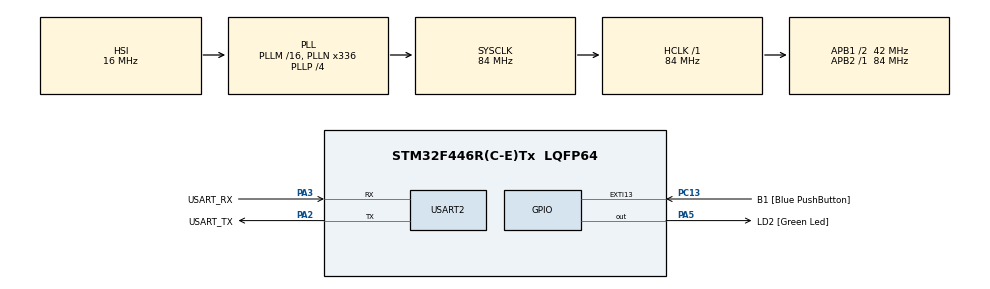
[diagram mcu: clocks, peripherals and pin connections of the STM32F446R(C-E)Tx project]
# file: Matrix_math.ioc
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Mcu.Family=STM32F4
Mcu.Name=STM32F446R(C-E)Tx
Mcu.Package=LQFP64
NVIC.PriorityGroup=NVIC_PRIORITYGROUP_0
PA13.GPIO_Label=TMS
PA13.Mode=Serial_Wire
PA13.Signal=SYS_JTMS-SWDIO
PA14.GPIO_Label=TCK
PA14.Mode=Serial_Wire
PA14.Signal=SYS_JTCK-SWCLK
PA2.GPIO_Label=USART_TX
PA2.Mode=Asynchronous
PA2.Signal=USART2_TX
PA3.GPIO_Label=USART_RX
PA3.Mode=Asynchronous
PA3.Signal=USART2_RX
PA5.GPIO_Label=LD2 [Green Led]
PA5.Signal=GPIO_Output
PB3.GPIO_Label=SWO
PB3.Signal=SYS_JTDO-SWO
PC13.GPIO_Label=B1 [Blue PushButton]
PC13.GPIO_ModeDefaultEXTI=GPIO_MODE_IT_FALLING
PC13.Signal=GPXTI13
PC14-OSC32_IN.Mode=LSE-External-Oscillator
PC14-OSC32_IN.Signal=RCC_OSC32_IN
PC15-OSC32_OUT.Mode=LSE-External-Oscillator
PC15-OSC32_OUT.Signal=RCC_OSC32_OUT
PH0-OSC_IN.Mode=HSE-External-Oscillator
PH0-OSC_IN.Signal=RCC_OSC_IN
PH1-OSC_OUT.Mode=HSE-External-Oscillator
PH1-OSC_OUT.Signal=RCC_OSC_OUT
ProjectManager.HeapSize=0x200
ProjectManager.StackSize=0x400
ProjectManager.TargetToolchain=STM32CubeIDE
RCC.48MHZClocksFreq_Value=84000000
RCC.AHBFreq_Value=84000000
RCC.APB1CLKDivider=RCC_HCLK_DIV2
RCC.APB1Freq_Value=42000000
RCC.APB1TimFreq_Value=84000000
RCC.APB2Freq_Value=84000000
RCC.APB2TimFreq_Value=84000000
RCC.CortexFreq_Value=84000000
RCC.FLatency-AdvancedSettings=FLASH_LATENCY_2
RCC.HCLKFreq_Value=84000000
RCC.HSE_VALUE=8000000
RCC.HSI_VALUE=16000000
RCC.PLLN=336
RCC.PLLP=RCC_PLLP_DIV4
RCC.SYSCLKFreq_VALUE=84000000
RCC.SYSCLKSource=RCC_SYSCLKSOURCE_PLLCLK
RCC.USBFreq_Value=168000000
RCC.VCOOutputFreq_Value=336000000
STMicroelectronics.X-CUBE-ALGOBUILD.1.0.0.LibraryCcDSPOoLibraryJjDSPOoLibrary=true
USART2.VirtualMode=VM_ASYNC
VP_STMicroelectronics.X-CUBE-ALGOBUILD_VS_DSPOoLibraryJjLibrary_1.0.0.Mode=DSPOoLibraryJjLibrary
board=NUCLEO-F446RE

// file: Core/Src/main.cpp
/* USER CODE BEGIN Header */
/**
  ******************************************************************************
  * @file           : main.c
  * @brief          : Main program body
  ******************************************************************************
  * @attention
  *
  * <h2><center>&copy; Copyright (c) 2020 STMicroelectronics.
  * All rights reserved.</center></h2>
  *
  * This software component is licensed by ST under BSD 3-Clause license,
  * the "License"; You may not use this file except in compliance with the
  * License. You may obtain a copy of the License at:
  *                        opensource.org/licenses/BSD-3-Clause
  *
  ******************************************************************************
  */
/* USER CODE END Header */

#include <matrix_math.h>
#include "main.h"

UART_HandleTypeDef huart2;

void SystemClock_Config(void);
static void MX_GPIO_Init(void);
static void MX_USART2_UART_Init(void);
/* USER CODE BEGIN PFP */

int check_add(void)
{
	  Matrix<float,3,3> a{{1.75f,2.45f,3.12f},{5.14f,6.65f,8.17f},{-9.234f,10.241f,12.1322f}};
	  Matrix<float,3,3> b{{-1.11f,3.65f,6.12f},{-0.41f,-2.65f,8.17f},{4.234f,-11.251f,8.192f}};
	  Matrix<float,3,3> result;
	  Matrix<float,3,3> expected{{0.64f,6.1f,9.24f},{4.73f,4.0f,16.34f},{-5.0f,-1.01f,20.3242f}};

	  result=a+b;

	  return result.isequal(expected, 0.00001);
}

int check_sub(void)
{
	  Matrix<float,3,3> a{{1.75f,2.45f,3.12f},{5.14f,6.65f,8.17f},{-9.234f,10.241f,12.1322f}};
	  Matrix<float,3,3> b{{-1.11f,3.65f,6.12f},{-0.41f,-2.65f,8.17f},{4.234f,-11.251f,8.192f}};
	  Matrix<float,3,3> result;
	  Matrix<float,3,3> expected{{2.86f,-1.2f,-3.0f},{5.55f,9.3f,0.0f},{-13.468f,21.492f,3.9402f}};

	  result=a-b;

	  return result.isequal(expected, 0.00001);
}

int check_mul(void)
{
	  Matrix<float,4,3> a{{13.0f,15.0f,1.0f},
		  	  	  	  	  {5.0f,9.0f,11.0f},
						  {34.0f,24.0f,2.0f},
						  {17.0f,2.0f,6.0f}};

	  Matrix<float,3,4> b{{3.0f,7.0f,31.0f,17.0f},
		  	  	  	  	  {5.0f,21.0f,45.0f,5.0f},
						  {9.0f,11.0f,3.0f,16.0f}};

	  Matrix<float,4,4> result;

	  Matrix<float,4,4> expected{{123.0f,417.0f,1081.0f,312.0f},
		  	  	  	  	  	  	 {159.0f,345.0f,593.0f,306.0f},
								 {240.0f,764.0f,2140.0f,730.0f},
								 {115.0f,227.0f,635.0f,395.0f}};

	  result=a*b;

	  return result.isequal(expected, 0.00001);
}

int check_inv(void)
{
	  Matrix<float,3,3> a{{1.0f,2.0f,3.0f},{5.0f,6.0f,8.0f},{9.0f,10.0f,12.0f}};
	  Matrix<float,3,3> result;
	  Matrix<float,3,3> expected{{-2.0f,1.5f,-0.5f},{3.0f,-3.75f,1.75f},{-1.0f,2.0f,-1.0f}};

	  result=a.inverse();

	  return result.isequal(expected, 0.00001);
}

int check_identity(void)
{
	  Matrix<float,3,3> a;
	  Matrix<float,3,3> result;
	  Matrix<float,3,3> expected{{1.0f,0.0f,0.0f},{0.0f,1.0f,0.0f},{0.0f,0.0f,1.0f}};

	  result=a.identity();

	  return result.isequal(expected, 0.00001);
}

/* USER CODE END PFP */

int main(void)
{

  /* MCU Configuration--------------------------------------------------------*/

  /* Reset of all peripherals, Initializes the Flash interface and the Systick. */
  HAL_Init();

  /* Configure the system clock */
  SystemClock_Config();

  /* Initialize all configured peripherals */
  MX_GPIO_Init();
  MX_USART2_UART_Init();
  /* USER CODE BEGIN 2 */

  HAL_GPIO_WritePin(LD2_GPIO_Port,LD2_Pin,GPIO_PIN_SET);

  if(!check_add())HAL_GPIO_WritePin(LD2_GPIO_Port,LD2_Pin,GPIO_PIN_RESET);
  if(!check_sub())HAL_GPIO_WritePin(LD2_GPIO_Port,LD2_Pin,GPIO_PIN_RESET);
  if(!check_mul())HAL_GPIO_WritePin(LD2_GPIO_Port,LD2_Pin,GPIO_PIN_RESET);
  if(!check_inv())HAL_GPIO_WritePin(LD2_GPIO_Port,LD2_Pin,GPIO_PIN_RESET);
  if(!check_identity())HAL_GPIO_WritePin(LD2_GPIO_Port,LD2_Pin,GPIO_PIN_RESET);

  /*this also works*/
  Matrix<float,3,3> a{{1.0f,2.0f,3.0f},{5.0f,6.0f,8.0f},{9.0f,10.0f,12.0f}};
  a=a.inverse();

  /* USER CODE END 2 */

  /* Infinite loop */
  while (1)
  {

  }
}

void SystemClock_Config(void)
{
  RCC_OscInitTypeDef RCC_OscInitStruct = {0};
  RCC_ClkInitTypeDef RCC_ClkInitStruct = {0};

  /** Configure the main internal regulator output voltage
  */
  __HAL_RCC_PWR_CLK_ENABLE();
  __HAL_PWR_VOLTAGESCALING_CONFIG(PWR_REGULATOR_VOLTAGE_SCALE3);
  /** Initializes the CPU, AHB and APB busses clocks
  */
  RCC_OscInitStruct.OscillatorType = RCC_OSCILLATORTYPE_HSI;
  RCC_OscInitStruct.HSIState = RCC_HSI_ON;
  RCC_OscInitStruct.HSICalibrationValue = RCC_HSICALIBRATION_DEFAULT;
  RCC_OscInitStruct.PLL.PLLState = RCC_PLL_ON;
  RCC_OscInitStruct.PLL.PLLSource = RCC_PLLSOURCE_HSI;
  RCC_OscInitStruct.PLL.PLLM = 16;
  RCC_OscInitStruct.PLL.PLLN = 336;
  RCC_OscInitStruct.PLL.PLLP = RCC_PLLP_DIV4;
  RCC_OscInitStruct.PLL.PLLQ = 2;
  RCC_OscInitStruct.PLL.PLLR = 2;
  if (HAL_RCC_OscConfig(&RCC_OscInitStruct) != HAL_OK)
  {
    Error_Handler();
  }
  /** Initializes the CPU, AHB and APB busses clocks
  */
  RCC_ClkInitStruct.ClockType = RCC_CLOCKTYPE_HCLK|RCC_CLOCKTYPE_SYSCLK
                              |RCC_CLOCKTYPE_PCLK1|RCC_CLOCKTYPE_PCLK2;
  RCC_ClkInitStruct.SYSCLKSource = RCC_SYSCLKSOURCE_PLLCLK;
  RCC_ClkInitStruct.AHBCLKDivider = RCC_SYSCLK_DIV1;
  RCC_ClkInitStruct.APB1CLKDivider = RCC_HCLK_DIV2;
  RCC_ClkInitStruct.APB2CLKDivider = RCC_HCLK_DIV1;

  if (HAL_RCC_ClockConfig(&RCC_ClkInitStruct, FLASH_LATENCY_2) != HAL_OK)
  {
    Error_Handler();
  }
}

static void MX_USART2_UART_Init(void)
{

  huart2.Instance = USART2;
  huart2.Init.BaudRate = 115200;
  huart2.Init.WordLength = UART_WORDLENGTH_8B;
  huart2.Init.StopBits = UART_STOPBITS_1;
  huart2.Init.Parity = UART_PARITY_NONE;
  huart2.Init.Mode = UART_MODE_TX_RX;
  huart2.Init.HwFlowCtl = UART_HWCONTROL_NONE;
  huart2.Init.OverSampling = UART_OVERSAMPLING_16;
  if (HAL_UART_Init(&huart2) != HAL_OK)
  {
    Error_Handler();
  }

}

static void MX_GPIO_Init(void)
{
  GPIO_InitTypeDef GPIO_InitStruct = {0};

  /* GPIO Ports Clock Enable */
  __HAL_RCC_GPIOC_CLK_ENABLE();
  __HAL_RCC_GPIOH_CLK_ENABLE();
  __HAL_RCC_GPIOA_CLK_ENABLE();
  __HAL_RCC_GPIOB_CLK_ENABLE();

  /*Configure GPIO pin Output Level */
  HAL_GPIO_WritePin(LD2_GPIO_Port, LD2_Pin, GPIO_PIN_RESET);

  /*Configure GPIO pin : B1_Pin */
  GPIO_InitStruct.Pin = B1_Pin;
  GPIO_InitStruct.Mode = GPIO_MODE_IT_FALLING;
  GPIO_InitStruct.Pull = GPIO_NOPULL;
  HAL_GPIO_Init(B1_GPIO_Port, &GPIO_InitStruct);

  /*Configure GPIO pin : LD2_Pin */
  GPIO_InitStruct.Pin = LD2_Pin;
  GPIO_InitStruct.Mode = GPIO_MODE_OUTPUT_PP;
  GPIO_InitStruct.Pull = GPIO_NOPULL;
  GPIO_InitStruct.Speed = GPIO_SPEED_FREQ_LOW;
  HAL_GPIO_Init(LD2_GPIO_Port, &GPIO_InitStruct);

}

void Error_Handler(void)
{
}

/************************ (C) COPYRIGHT STMicroelectronics *****END OF FILE****/
